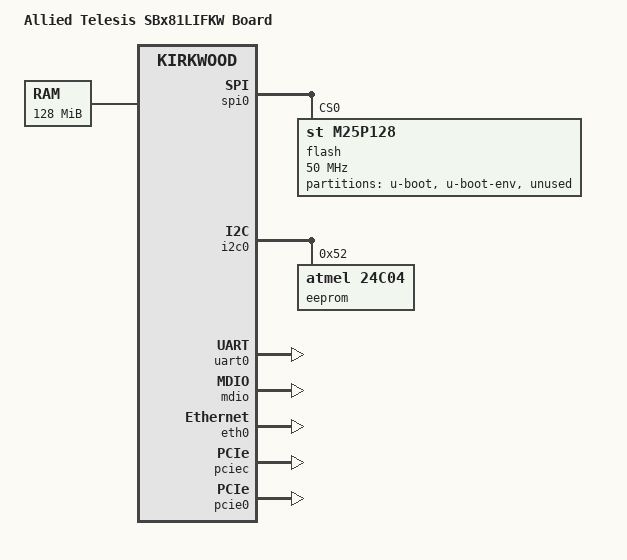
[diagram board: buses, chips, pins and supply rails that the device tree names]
// SPDX-License-Identifier: GPL-2.0
/dts-v1/;

#include "kirkwood.dtsi"
#include "kirkwood-6281.dtsi"

/ {
	model = "Allied Telesis SBx81LIFKW Board";
	compatible = "atl,SBx81LIFKW", "marvell,kirkwood-88f6281",
		     "marvell,kirkwood";

	memory {
		device_type = "memory";
		reg = <0x00000000 0x08000000>; /* 128 MB */
	};

	chosen {
		bootargs = "console=ttyS0,115200n8 earlyprintk";
		stdout-path = &uart0;
	};

	aliases {
		ethernet0 = &eth0;
		i2c0 = &i2c0;
		spi0 = &spi0;
	};

	dsa {
		compatible = "marvell,dsa";
		#address-cells = <2>;
		#size-cells = <0>;
		dsa,ethernet = <&eth0>;
		dsa,mii-bus = <&mdio>;
		status = "okay";

		switch@0 {
			#address-cells =  <1>;
			#size-cells = <0>;
			reg = <1 0>;

			port@0 {
				reg = <0>;
				label = "internal0";
			};
			port@1 {
				reg = <1>;
				label = "internal1";
			};
			port@8 {
				reg = <8>;
				label = "internal8";
				phy-mode = "rgmii-id";
				fixed-link {
					speed = <1000>;
					full-duplex;
				};
			};
			port@9 {
				reg = <9>;
				label = "internal9";
				phy-mode = "rgmii-id";
				fixed-link {
					speed = <1000>;
					full-duplex;
				};
			};
			port@10 {
				reg = <10>;
				label = "cpu";
			};
		};
	};
};

&spi0 {
	status = "okay";

	flash@0 {
		#address-cells = <1>;
		#size-cells = <1>;
		compatible = "st,m25p128", "jedec,spi-nor";
		reg = <0>;
		spi-max-frequency = <50000000>;
		mode = <0>;

		partition@u-boot {
			reg = <0x00000000 0x00c00000>;
			label = "u-boot";
		};
		partition@u-boot-env {
			reg = <0x00c00000 0x00040000>;
			label = "u-boot-env";
		};
		partition@unused {
			reg = <0x00100000 0x00f00000>;
			label = "unused";
		};
	};
};

&i2c0 {
	status = "okay";

	eeprom@52 {
		compatible = "atmel,24c04";
		reg = <0x52>;
	};
};

&uart0 {
	status = "okay";
};

&mdio {
	status = "okay";
};

&eth0 {
	status = "okay";

	ethernet0-port@0 {
		speed = <1000>;
		duplex = <1>;
	};
};

&pciec {
	status = "okay";
};

&pcie0 {
	status = "okay";
};
